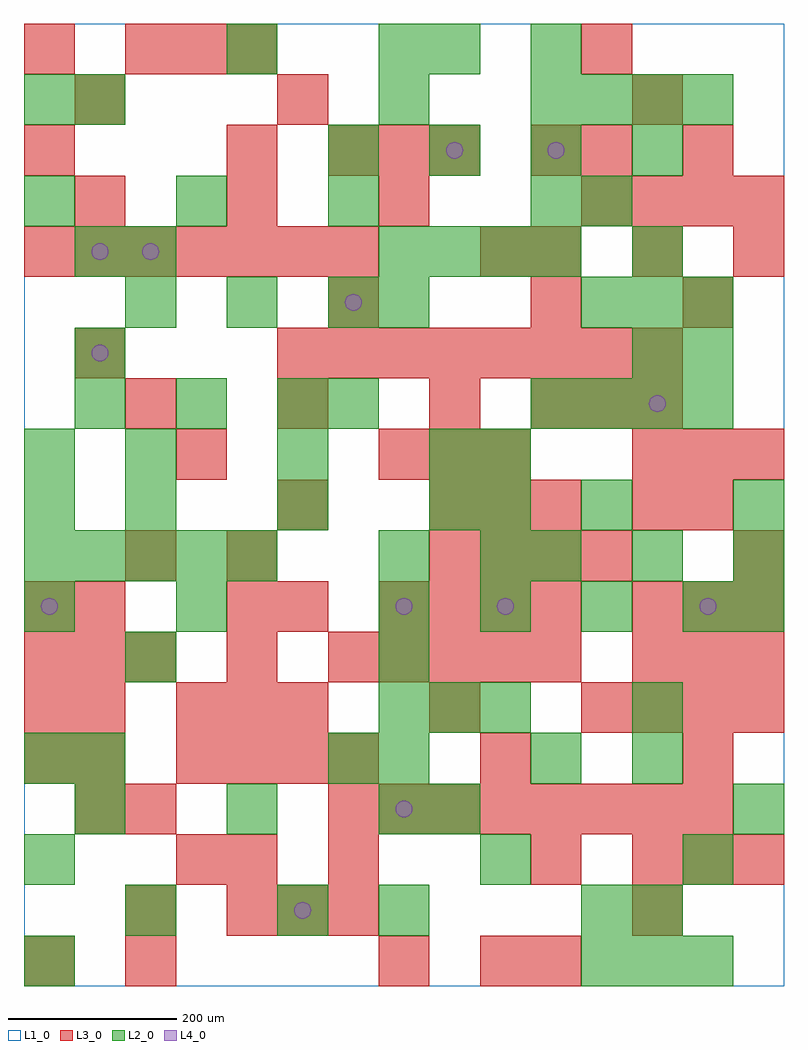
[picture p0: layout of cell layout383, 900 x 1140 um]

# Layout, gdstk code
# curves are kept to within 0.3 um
import gdstk
lib = gdstk.Library(unit=1e-6, precision=1e-09)
def R(c, l, rs):  # rectangles x0, y0, x1, y1
    for r in rs: c.add(gdstk.rectangle(r[:2], r[2:], *l))
def A(c, l, x, y, w, h, nx, ny, dx, dy):  # array of equal rectangles
    R(c, l, [(x+i*dx, y+j*dy, x+i*dx+w, y+j*dy+h) for i in range(nx) for j in range(ny)])
def P(c, l, *ps):  # polygons
    for p in ps: c.add(gdstk.Polygon(p, *l))
L1_0 = (1, 0)
L2_0 = (2, 0)
L3_0 = (3, 0)
L4_0 = (4, 0)

layout383 = lib.new_cell('layout383')
R(layout383, L1_0, [(0,0,900,1140)])
A(layout383, L2_0, 0, 0, 60, 60, 1, 3, 0, 120)
A(layout383, L2_0, 660, 0, 60, 60, 3, 2, 60, 780)
A(layout383, L2_0, 60, 180, 60, 60, 3, 1, 180, 0)
A(layout383, L2_0, 420, 240, 60, 60, 1, 3, 0, 120)
A(layout383, L2_0, 420, 300, 60, 60, 3, 1, 60, 0)
A(layout383, L2_0, 420, 420, 60, 60, 4, 1, 120, 0)
A(layout383, L2_0, 0, 480, 60, 60, 5, 1, 60, 0)
A(layout383, L2_0, 540, 480, 60, 60, 1, 3, 0, 60)
A(layout383, L2_0, 600, 480, 60, 60, 3, 1, 120, 0)
A(layout383, L2_0, 120, 540, 60, 60, 3, 2, 180, 60)
A(layout383, L2_0, 60, 660, 60, 60, 3, 1, 120, 0)
A(layout383, L2_0, 600, 660, 60, 60, 4, 2, 60, 360)
A(layout383, L2_0, 120, 780, 60, 60, 3, 1, 120, 0)
A(layout383, L2_0, 420, 840, 60, 60, 4, 1, 60, 0)
A(layout383, L2_0, 0, 900, 60, 60, 3, 1, 180, 0)
A(layout383, L2_0, 360, 960, 60, 60, 4, 1, 120, 0)
R(layout383, L2_0, [(120,60,180,120), (300,60,360,120), (420,60,480,120), (660,60,720,120), (720,60,780,120), (540,120,600,180), (780,120,840,180), (480,180,540,240), (840,180,900,240), (60,240,120,300), (360,240,420,300), (600,240,660,300), (720,240,780,300), (720,300,780,360), (120,360,180,420), (0,420,60,480), (180,420,240,480), (840,420,900,480), (0,540,60,600), (660,540,720,600), (840,540,900,600), (0,600,60,660), (360,660,420,720), (60,720,120,780), (720,720,780,780), (780,720,840,780), (420,780,480,840), (60,840,120,900), (120,840,180,900), (720,840,780,900), (600,900,660,960), (660,900,720,960), (0,1020,60,1080), (60,1020,120,1080), (420,1020,480,1080), (240,1080,300,1140), (420,1080,480,1140), (480,1080,540,1140), (600,1080,660,1140)])
A(layout383, L3_0, 240, 60, 60, 60, 3, 1, 60, 0)
A(layout383, L3_0, 720, 60, 60, 60, 1, 3, 0, 480)
A(layout383, L3_0, 720, 120, 60, 60, 3, 2, 60, 240)
A(layout383, L3_0, 60, 180, 60, 60, 1, 3, 0, 60)
A(layout383, L3_0, 360, 180, 60, 60, 8, 1, 60, 0)
A(layout383, L3_0, 180, 240, 60, 60, 4, 1, 60, 0)
A(layout383, L3_0, 180, 300, 60, 60, 3, 1, 60, 0)
A(layout383, L3_0, 660, 300, 60, 60, 4, 2, 60, 600)
A(layout383, L3_0, 0, 360, 60, 60, 3, 1, 60, 0)
A(layout383, L3_0, 240, 360, 60, 60, 1, 3, 0, 60)
A(layout383, L3_0, 360, 360, 60, 60, 5, 1, 60, 0)
A(layout383, L3_0, 60, 420, 60, 60, 1, 3, 0, 300)
A(layout383, L3_0, 420, 420, 60, 60, 4, 1, 60, 0)
A(layout383, L3_0, 720, 420, 60, 60, 3, 2, 60, 180)
A(layout383, L3_0, 480, 480, 60, 60, 4, 1, 60, 0)
A(layout383, L3_0, 480, 540, 60, 60, 3, 1, 60, 0)
A(layout383, L3_0, 420, 600, 60, 60, 3, 1, 60, 0)
A(layout383, L3_0, 120, 660, 60, 60, 3, 1, 180, 0)
A(layout383, L3_0, 600, 660, 60, 60, 3, 1, 60, 0)
A(layout383, L3_0, 300, 720, 60, 60, 8, 1, 60, 0)
A(layout383, L3_0, 0, 840, 60, 60, 7, 1, 60, 0)
A(layout383, L3_0, 600, 840, 60, 60, 3, 1, 120, 0)
A(layout383, L3_0, 60, 900, 60, 60, 3, 1, 180, 0)
A(layout383, L3_0, 360, 960, 60, 60, 3, 1, 60, 0)
A(layout383, L3_0, 120, 1080, 60, 60, 3, 1, 60, 0)
R(layout383, L3_0, [(0,0,60,60), (120,0,180,60), (420,0,480,60), (540,0,600,60), (600,0,660,60), (120,60,180,120), (180,120,240,180), (240,120,300,180), (360,120,420,180), (600,120,660,180), (120,180,180,240), (0,240,60,300), (540,240,600,300), (780,240,840,300), (0,300,60,360), (480,300,540,360), (0,420,60,480), (300,420,360,480), (120,480,180,540), (840,480,900,540), (300,540,360,600), (780,540,840,600), (180,600,240,660), (360,780,420,840), (600,780,660,840), (780,780,840,840), (540,840,600,900), (0,960,60,1020), (240,960,300,1020), (600,960,660,1020), (660,960,720,1020), (780,960,840,1020), (300,1020,360,1080), (0,1080,60,1140), (660,1080,720,1140)])
P(layout383, L4_0, [(40,450),(39.239,453.827),(37.071,457.071),(33.827,459.239),(30,460),(26.173,459.239),(22.929,457.071),(20.761,453.827),(20,450),(20.761,446.173),(22.929,442.929),(26.173,440.761),(30,440),(33.827,440.761),(37.071,442.929),(39.239,446.173)],
  [(100,750),(99.239,753.827),(97.071,757.071),(93.827,759.239),(90,760),(86.173,759.239),(82.929,757.071),(80.761,753.827),(80,750),(80.761,746.173),(82.929,742.929),(86.173,740.761),(90,740),(93.827,740.761),(97.071,742.929),(99.239,746.173)],
  [(100,870),(99.239,873.827),(97.071,877.071),(93.827,879.239),(90,880),(86.173,879.239),(82.929,877.071),(80.761,873.827),(80,870),(80.761,866.173),(82.929,862.929),(86.173,860.761),(90,860),(93.827,860.761),(97.071,862.929),(99.239,866.173)],
  [(160,870),(159.239,873.827),(157.071,877.071),(153.827,879.239),(150,880),(146.173,879.239),(142.929,877.071),(140.761,873.827),(140,870),(140.761,866.173),(142.929,862.929),(146.173,860.761),(150,860),(153.827,860.761),(157.071,862.929),(159.239,866.173)],
  [(340,90),(339.239,93.827),(337.071,97.071),(333.827,99.239),(330,100),(326.173,99.239),(322.929,97.071),(320.761,93.827),(320,90),(320.761,86.173),(322.929,82.929),(326.173,80.761),(330,80),(333.827,80.761),(337.071,82.929),(339.239,86.173)],
  [(400,810),(399.239,813.827),(397.071,817.071),(393.827,819.239),(390,820),(386.173,819.239),(382.929,817.071),(380.761,813.827),(380,810),(380.761,806.173),(382.929,802.929),(386.173,800.761),(390,800),(393.827,800.761),(397.071,802.929),(399.239,806.173)],
  [(460,210),(459.239,213.827),(457.071,217.071),(453.827,219.239),(450,220),(446.173,219.239),(442.929,217.071),(440.761,213.827),(440,210),(440.761,206.173),(442.929,202.929),(446.173,200.761),(450,200),(453.827,200.761),(457.071,202.929),(459.239,206.173)],
  [(460,450),(459.239,453.827),(457.071,457.071),(453.827,459.239),(450,460),(446.173,459.239),(442.929,457.071),(440.761,453.827),(440,450),(440.761,446.173),(442.929,442.929),(446.173,440.761),(450,440),(453.827,440.761),(457.071,442.929),(459.239,446.173)],
  [(520,990),(519.239,993.827),(517.071,997.071),(513.827,999.239),(510,1000),(506.173,999.239),(502.929,997.071),(500.761,993.827),(500,990),(500.761,986.173),(502.929,982.929),(506.173,980.761),(510,980),(513.827,980.761),(517.071,982.929),(519.239,986.173)],
  [(580,450),(579.239,453.827),(577.071,457.071),(573.827,459.239),(570,460),(566.173,459.239),(562.929,457.071),(560.761,453.827),(560,450),(560.761,446.173),(562.929,442.929),(566.173,440.761),(570,440),(573.827,440.761),(577.071,442.929),(579.239,446.173)],
  [(640,990),(639.239,993.827),(637.071,997.071),(633.827,999.239),(630,1000),(626.173,999.239),(622.929,997.071),(620.761,993.827),(620,990),(620.761,986.173),(622.929,982.929),(626.173,980.761),(630,980),(633.827,980.761),(637.071,982.929),(639.239,986.173)],
  [(760,690),(759.239,693.827),(757.071,697.071),(753.827,699.239),(750,700),(746.173,699.239),(742.929,697.071),(740.761,693.827),(740,690),(740.761,686.173),(742.929,682.929),(746.173,680.761),(750,680),(753.827,680.761),(757.071,682.929),(759.239,686.173)],
  [(820,450),(819.239,453.827),(817.071,457.071),(813.827,459.239),(810,460),(806.173,459.239),(802.929,457.071),(800.761,453.827),(800,450),(800.761,446.173),(802.929,442.929),(806.173,440.761),(810,440),(813.827,440.761),(817.071,442.929),(819.239,446.173)])

lib.write_gds('layout383.gds')
